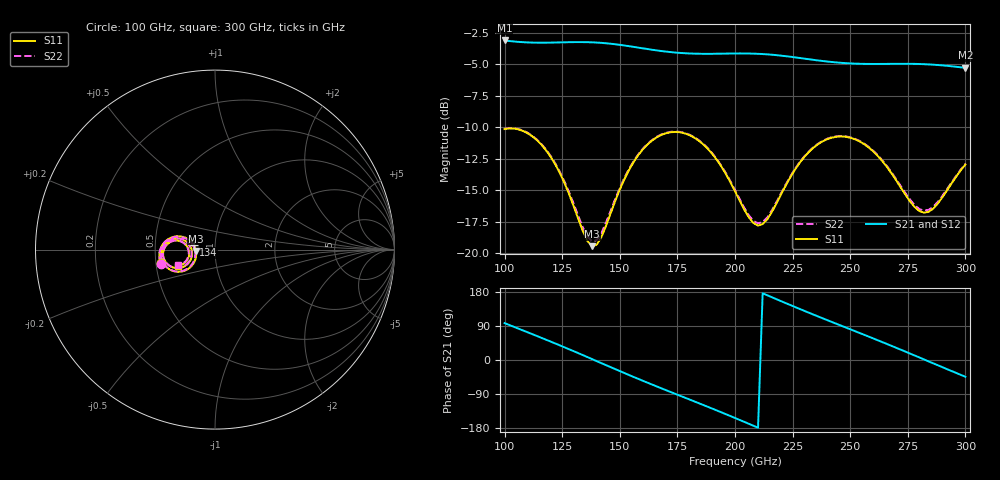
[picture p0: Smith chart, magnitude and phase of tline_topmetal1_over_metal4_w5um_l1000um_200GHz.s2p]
#  GHZ S DB R 50
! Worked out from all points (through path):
!   101 points, 100 GHz to 300 GHz, reference 50 ohm
!   highest |S21| = -3.11 dB at 100 GHz (marker M1); lowest = -5.3 dB at 300 GHz (marker M2)
!   group delay of S21, straight-line fit = 6.97 ps
!   lowest |S11| = -19.5 dB at 138 GHz (marker M3), VSWR 1.24, Z = 40.4 - j0.641 ohm
!   |S11| at or under -10 dB: start of sweep to end of sweep
!   |S22| runs from -19.1 to -10.1 dB; largest |S21 - S12| = 1.1e-13
!   S11 on the Smith chart (normalised r, x): 100 GHz: 0.53, -0.09; 134 GHz: 0.79, +0.04; 300 GHz: 0.65, -0.12
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100  -10.15 -165.9  -3.11 97.3  -3.11 97.3  -10.12 -165.5
108  -10.30 -179.7  -3.25 77.9  -3.25 77.9  -10.27 -179.2
116  -11.40 167.8  -3.29 58.5  -3.29 58.5  -11.35 168.5
126  -14.44 158.1  -3.25 33.4  -3.25 33.4  -14.32 159.2
134  -18.27 167.4  -3.24 12.8  -3.24 12.8  -17.98 168.4
138  -19.46 -175.8  -3.26 2.3  -3.26 2.3  -19.08 -175.7
146  -16.86 -147.0  -3.37 -18.8  -3.37 -18.8  -16.66 -148.2
154  -13.40 -145.8  -3.56 -39.6  -3.56 -39.6  -13.32 -146.7
168  -10.62 -163.4  -3.95 -74.6  -3.95 -74.6  -10.58 -163.8
176  -10.40 -175.3  -4.10 -94.0  -4.10 -94.0  -10.37 -175.5
184  -11.03 173.5  -4.16 -113.3  -4.16 -113.3  -11.00 173.4
200  -15.09 163.3  -4.14 -153.0  -4.14 -153.0  -14.99 163.5
208  -17.62 178.2  -4.16 -173.6  -4.16 -173.6  -17.45 178.1
212  -17.70 -168.5  -4.19 176.0  -4.19 176.0  -17.54 -169.0
222  -14.64 -151.4  -4.36 150.2  -4.36 150.2  -14.56 -152.1
234  -11.64 -158.5  -4.65 120.0  -4.65 120.0  -11.60 -159.0
250  -10.83 -178.4  -4.93 81.1  -4.93 81.1  -10.80 -178.6
258  -11.61 172.5  -4.97 61.8  -4.97 61.8  -11.56 172.4
268  -13.69 166.3  -4.97 37.1  -4.97 37.1  -13.61 166.4
282  -16.80 -175.3  -4.99 1.6  -4.99 1.6  -16.63 -175.8
290  -15.57 -159.0  -5.09 -18.9  -5.09 -18.9  -15.46 -159.9
300  -12.96 -156.4  -5.28 -44.2  -5.28 -44.2  -12.92 -157.2
